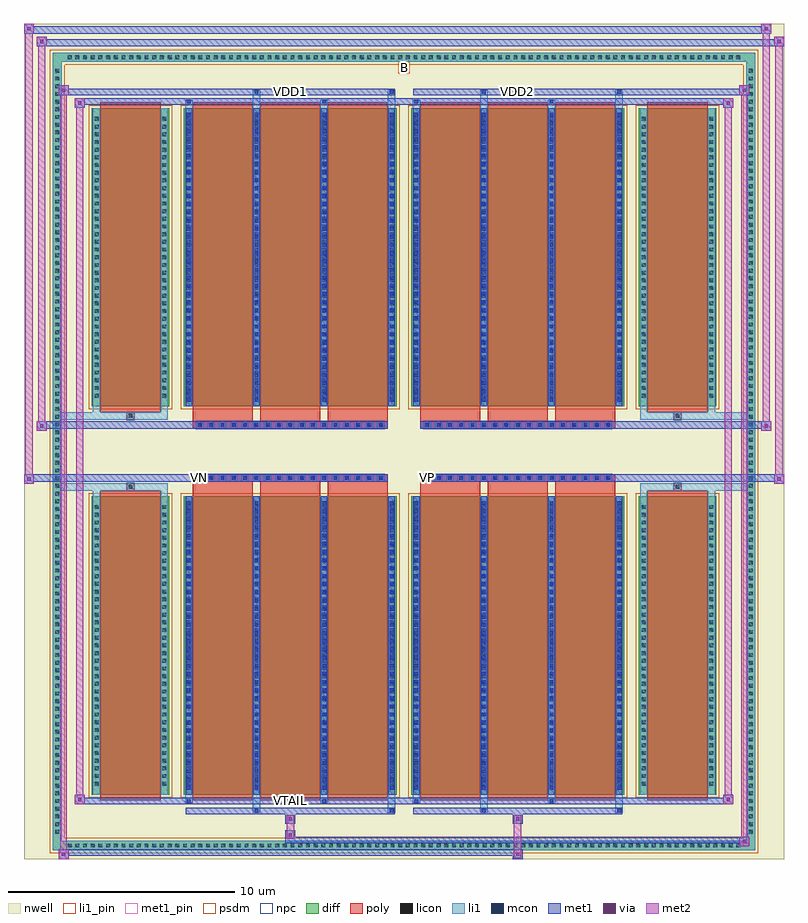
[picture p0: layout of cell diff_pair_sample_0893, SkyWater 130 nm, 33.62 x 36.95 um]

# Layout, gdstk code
import gdstk
lib = gdstk.Library(unit=1e-6, precision=5e-09)
def R(c, l, rs):  # rectangles x0, y0, x1, y1
    for r in rs: c.add(gdstk.rectangle(r[:2], r[2:], *l))
def A(c, l, x, y, w, h, nx, ny, dx, dy):  # array of equal rectangles
    R(c, l, [(x+i*dx, y+j*dy, x+i*dx+w, y+j*dy+h) for i in range(nx) for j in range(ny)])
def P(c, l, *ps):  # polygons
    for p in ps: c.add(gdstk.Polygon(p, *l))
nwell = (64, 20)
diff = (65, 20)
poly = (66, 20)
licon = (66, 44)
li1_pin = (67, 16)
li1 = (67, 20)
mcon = (67, 44)
met1_pin = (68, 16)
met1 = (68, 20)
via = (68, 44)
met2 = (69, 20)
psdm = (94, 20)
npc = (95, 20)

diff_pair_sample_0893 = lib.new_cell('diff_pair_sample_0893')
R(diff_pair_sample_0893, nwell, [(-16.81,-18.04,16.81,18.91), (-14.13,-16.23,-0.01,-0.805), (0.01,-16.23,14.13,-0.805), (-14.13,0.805,-0.01,16.23), (0.01,0.805,14.13,16.23)])
A(diff_pair_sample_0893, diff, -14.995, -17.64, 0.41, 0.41, 88, 2, 0.34, 34.87)
A(diff_pair_sample_0893, diff, -15.54, -17.035, 0.41, 0.41, 1, 100, 0, 0.34)
A(diff_pair_sample_0893, diff, 15.13, -17.035, 0.41, 0.41, 1, 100, 0, 0.34)
R(diff_pair_sample_0893, diff, [(-14.995,-17.64,14.995,-17.23), (-15.54,-17.035,-15.13,17.035), (15.13,-17.035,15.54,17.035), (-13.82,-15.185,-10.38,-1.985), (-9.74,-15.185,-0.32,-1.985), (0.32,-15.185,9.74,-1.985), (10.38,-15.185,13.82,-1.985), (-13.82,1.985,-10.38,15.185), (-9.74,1.985,-0.32,15.185), (0.32,1.985,9.74,15.185), (10.38,1.985,13.82,15.185), (-14.995,17.23,14.995,17.64)])
P(diff_pair_sample_0893, diff, [(15.54,17.64),(-15.54,17.64),(-15.54,-17.23),(-15.13,-17.23),(-15.13,17.23),(15.13,17.23),(15.13,-17.23),(-15.13,-17.23),(-15.54,-17.23),(-15.54,-17.64),(15.54,-17.64)])
A(diff_pair_sample_0893, poly, -9.35, -15.435, 2.66, 13.7, 3, 2, 2.99, 17.17)
A(diff_pair_sample_0893, poly, 0.71, -15.435, 2.66, 13.7, 3, 2, 2.99, 17.17)
A(diff_pair_sample_0893, poly, -9.35, -1.735, 2.66, 0.4, 3, 2, 2.99, 3.07)
A(diff_pair_sample_0893, poly, 0.71, -1.735, 2.66, 0.4, 3, 2, 2.99, 3.07)
A(diff_pair_sample_0893, poly, -9.195, -1.335, 0.33, 0.33, 17, 2, 0.5, 2.34)
A(diff_pair_sample_0893, poly, 0.865, -1.335, 0.33, 0.33, 17, 2, 0.5, 2.34)
R(diff_pair_sample_0893, poly, [(-13.43,-15.435,-10.77,-1.735), (10.77,-15.435,13.43,-1.735), (-12.265,-1.735,-11.935,-1.405), (-12.265,-1.735,-11.935,-1.405), (11.935,-1.735,12.265,-1.405), (11.935,-1.735,12.265,-1.405), (-9.35,-1.335,-0.71,-1.005), (0.71,-1.335,9.35,-1.005), (-9.35,1.005,-0.71,1.335), (0.71,1.005,9.35,1.335), (-12.265,1.405,-11.935,1.735), (-12.265,1.405,-11.935,1.735), (11.935,1.405,12.265,1.735), (11.935,1.405,12.265,1.735), (-13.43,1.735,-10.77,15.435), (10.77,1.735,13.43,15.435)])
A(diff_pair_sample_0893, licon, -14.875, -17.52, 0.17, 0.17, 88, 2, 0.34, 34.87)
A(diff_pair_sample_0893, licon, -15.42, -16.915, 0.17, 0.17, 1, 100, 0, 0.34)
A(diff_pair_sample_0893, licon, 15.25, -16.915, 0.17, 0.17, 1, 100, 0, 0.34)
A(diff_pair_sample_0893, licon, -13.68, -14.79, 0.17, 0.17, 1, 37, 0, 0.34)
A(diff_pair_sample_0893, licon, -10.69, -14.79, 0.17, 0.17, 1, 37, 0, 0.34)
A(diff_pair_sample_0893, licon, -9.6, -14.79, 0.17, 0.17, 4, 37, 2.99, 0.34)
A(diff_pair_sample_0893, licon, 0.46, -14.79, 0.17, 0.17, 4, 37, 2.99, 0.34)
A(diff_pair_sample_0893, licon, 10.52, -14.79, 0.17, 0.17, 1, 37, 0, 0.34)
A(diff_pair_sample_0893, licon, 13.51, -14.79, 0.17, 0.17, 1, 37, 0, 0.34)
A(diff_pair_sample_0893, licon, -9.115, -1.255, 0.17, 0.17, 17, 2, 0.5, 2.34)
A(diff_pair_sample_0893, licon, 0.945, -1.255, 0.17, 0.17, 17, 2, 0.5, 2.34)
A(diff_pair_sample_0893, licon, -13.68, 2.38, 0.17, 0.17, 1, 37, 0, 0.34)
A(diff_pair_sample_0893, licon, -10.69, 2.38, 0.17, 0.17, 1, 37, 0, 0.34)
A(diff_pair_sample_0893, licon, -9.6, 2.38, 0.17, 0.17, 4, 37, 2.99, 0.34)
A(diff_pair_sample_0893, licon, 0.46, 2.38, 0.17, 0.17, 4, 37, 2.99, 0.34)
A(diff_pair_sample_0893, licon, 10.52, 2.38, 0.17, 0.17, 1, 37, 0, 0.34)
A(diff_pair_sample_0893, licon, 13.51, 2.38, 0.17, 0.17, 1, 37, 0, 0.34)
R(diff_pair_sample_0893, licon, [(-12.185,-1.655,-12.015,-1.485), (12.015,-1.655,12.185,-1.485), (-12.185,1.485,-12.015,1.655), (12.015,1.485,12.185,1.655)])
R(diff_pair_sample_0893, li1_pin, [(-0.25,16.73,0.25,17.23)])
A(diff_pair_sample_0893, li1, -14.955, -17.6, 0.33, 0.33, 88, 2, 0.34, 34.87)
A(diff_pair_sample_0893, li1, -15.5, -16.995, 0.33, 0.33, 1, 100, 0, 0.34)
A(diff_pair_sample_0893, li1, 15.17, -16.995, 0.33, 0.33, 1, 100, 0, 0.34)
A(diff_pair_sample_0893, li1, -9.68, -15.185, 0.33, 13.2, 4, 2, 2.99, 17.17)
A(diff_pair_sample_0893, li1, 0.38, -15.185, 0.33, 13.2, 4, 2, 2.99, 17.17)
A(diff_pair_sample_0893, li1, -9.6, -14.97, 0.17, 0.17, 4, 36, 2.99, 0.36)
A(diff_pair_sample_0893, li1, -9.6, -14.97, 0.17, 12.77, 4, 2, 2.99, 17.17)
A(diff_pair_sample_0893, li1, 0.46, -14.97, 0.17, 0.17, 4, 36, 2.99, 0.36)
A(diff_pair_sample_0893, li1, 0.46, -14.97, 0.17, 12.77, 4, 2, 2.99, 17.17)
A(diff_pair_sample_0893, li1, -13.76, -14.87, 0.33, 0.33, 1, 37, 0, 0.34)
A(diff_pair_sample_0893, li1, -10.77, -14.87, 0.33, 0.33, 1, 37, 0, 0.34)
A(diff_pair_sample_0893, li1, -9.68, -14.87, 0.33, 0.33, 4, 37, 2.99, 0.34)
A(diff_pair_sample_0893, li1, 0.38, -14.87, 0.33, 0.33, 4, 37, 2.99, 0.34)
A(diff_pair_sample_0893, li1, 10.44, -14.87, 0.33, 0.33, 1, 37, 0, 0.34)
A(diff_pair_sample_0893, li1, 13.43, -14.87, 0.33, 0.33, 1, 37, 0, 0.34)
A(diff_pair_sample_0893, li1, -9.195, -1.335, 0.33, 0.33, 17, 2, 0.5, 2.34)
A(diff_pair_sample_0893, li1, 0.865, -1.335, 0.33, 0.33, 17, 2, 0.5, 2.34)
A(diff_pair_sample_0893, li1, -9.6, 2.2, 0.17, 0.17, 4, 36, 2.99, 0.36)
A(diff_pair_sample_0893, li1, 0.46, 2.2, 0.17, 0.17, 4, 36, 2.99, 0.36)
A(diff_pair_sample_0893, li1, -13.76, 2.3, 0.33, 0.33, 1, 37, 0, 0.34)
A(diff_pair_sample_0893, li1, -10.77, 2.3, 0.33, 0.33, 1, 37, 0, 0.34)
A(diff_pair_sample_0893, li1, -9.68, 2.3, 0.33, 0.33, 4, 37, 2.99, 0.34)
A(diff_pair_sample_0893, li1, 0.38, 2.3, 0.33, 0.33, 4, 37, 2.99, 0.34)
A(diff_pair_sample_0893, li1, 10.44, 2.3, 0.33, 0.33, 1, 37, 0, 0.34)
A(diff_pair_sample_0893, li1, 13.43, 2.3, 0.33, 0.33, 1, 37, 0, 0.34)
R(diff_pair_sample_0893, li1, [(-15.54,-17.64,-15.13,-17.23), (-15.54,-17.64,-15.13,-17.23), (-15.13,-17.64,15.13,-17.23), (15.13,-17.64,15.54,-17.23), (15.13,-17.64,15.54,-17.23), (-15.54,-17.23,-15.13,17.23), (15.13,-17.23,15.54,17.23), (-6.69,-15.99,-6.36,-15.185), (-6.61,-15.99,-6.44,-15.82), (-0.71,-15.99,-0.38,-15.185), (-0.63,-15.99,-0.46,-15.82), (3.37,-15.99,3.7,-15.185), (3.45,-15.99,3.62,-15.82), (9.35,-15.99,9.68,-15.185), (9.43,-15.99,9.6,-15.82), (-9.68,-15.56,-9.35,-15.185), (-9.6,-15.56,-9.43,-15.39), (-3.7,-15.56,-3.37,-15.185), (-3.62,-15.56,-3.45,-15.39), (0.38,-15.56,0.71,-15.185), (0.46,-15.56,0.63,-15.39), (6.36,-15.56,6.69,-15.185), (6.44,-15.56,6.61,-15.39), (-13.76,-15.185,-13.43,-1.985), (-10.77,-15.185,-10.44,-1.985), (10.44,-15.185,10.77,-1.985), (13.43,-15.185,13.76,-1.985), (-13.76,-1.985,-13.43,-1.405), (-10.77,-1.985,-10.44,-1.405), (10.44,-1.985,10.77,-1.405), (13.43,-1.985,13.76,-1.405), (-15.54,-1.735,-12.265,-1.405), (-13.76,-1.735,-12.265,-1.405), (-12.265,-1.735,-11.935,-1.405), (-11.935,-1.735,-10.44,-1.405), (10.44,-1.735,11.935,-1.405), (11.935,-1.735,12.265,-1.405), (11.935,-1.735,15.54,-1.405), (12.265,-1.735,13.76,-1.405), (-15.54,1.405,-12.265,1.735), (-13.76,1.405,-12.265,1.735), (-13.76,1.405,-13.43,1.985), (-12.265,1.405,-11.935,1.735), (-11.935,1.405,-10.44,1.735), (-10.77,1.405,-10.44,1.985), (10.44,1.405,11.935,1.735), (10.44,1.405,10.77,1.985), (11.935,1.405,12.265,1.735), (11.935,1.405,15.54,1.735), (12.265,1.405,13.76,1.735), (13.43,1.405,13.76,1.985), (-13.76,1.985,-13.43,15.185), (-10.77,1.985,-10.44,15.185), (10.44,1.985,10.77,15.185), (13.43,1.985,13.76,15.185), (-9.68,15.185,-9.35,15.56), (-6.69,15.185,-6.36,15.99), (-3.7,15.185,-3.37,15.56), (-0.71,15.185,-0.38,15.99), (0.38,15.185,0.71,15.56), (3.37,15.185,3.7,15.99), (6.36,15.185,6.69,15.56), (9.35,15.185,9.68,15.99), (-9.6,15.39,-9.43,15.56), (-3.62,15.39,-3.45,15.56), (0.46,15.39,0.63,15.56), (6.44,15.39,6.61,15.56), (-6.61,15.82,-6.44,15.99), (-0.63,15.82,-0.46,15.99), (3.45,15.82,3.62,15.99), (9.43,15.82,9.6,15.99), (-15.54,17.23,-15.13,17.64), (-15.54,17.23,-15.13,17.64), (-15.13,17.23,15.13,17.64), (15.13,17.23,15.54,17.64), (15.13,17.23,15.54,17.64)])
A(diff_pair_sample_0893, mcon, -9.6, -14.97, 0.17, 0.17, 4, 36, 2.99, 0.36)
A(diff_pair_sample_0893, mcon, 0.46, -14.97, 0.17, 0.17, 4, 36, 2.99, 0.36)
A(diff_pair_sample_0893, mcon, -9.115, -1.255, 0.17, 0.17, 17, 2, 0.5, 2.34)
A(diff_pair_sample_0893, mcon, 0.945, -1.255, 0.17, 0.17, 17, 2, 0.5, 2.34)
A(diff_pair_sample_0893, mcon, -9.6, 2.2, 0.17, 0.17, 4, 36, 2.99, 0.36)
A(diff_pair_sample_0893, mcon, 0.46, 2.2, 0.17, 0.17, 4, 36, 2.99, 0.36)
R(diff_pair_sample_0893, mcon, [(-6.61,-15.99,-6.44,-15.82), (-0.63,-15.99,-0.46,-15.82), (3.45,-15.99,3.62,-15.82), (9.43,-15.99,9.6,-15.82), (-9.6,-15.56,-9.43,-15.39), (-3.62,-15.56,-3.45,-15.39), (0.46,-15.56,0.63,-15.39), (6.44,-15.56,6.61,-15.39), (-9.6,15.39,-9.43,15.56), (-3.62,15.39,-3.45,15.56), (0.46,15.39,0.63,15.56), (6.44,15.39,6.61,15.56), (-6.61,15.82,-6.44,15.99), (-0.63,15.82,-0.46,15.99), (3.45,15.82,3.62,15.99), (9.43,15.82,9.6,15.99)])
R(diff_pair_sample_0893, met1_pin, [(-5.165,-15.6,-4.895,-15.33), (-9.165,-1.295,-8.895,-1.025), (0.895,-1.295,1.165,-1.025), (-5.165,15.78,-4.895,16.05), (4.895,15.78,5.165,16.05)])
A(diff_pair_sample_0893, met1, -9.66, -15.185, 0.29, 13.2, 4, 2, 2.99, 17.17)
A(diff_pair_sample_0893, met1, 0.4, -15.185, 0.29, 13.2, 4, 2, 2.99, 17.17)
A(diff_pair_sample_0893, met1, -9.66, -15.03, 0.29, 0.29, 4, 36, 2.99, 0.36)
A(diff_pair_sample_0893, met1, 0.4, -15.03, 0.29, 0.29, 4, 36, 2.99, 0.36)
A(diff_pair_sample_0893, met1, -9.175, -1.315, 0.29, 0.29, 17, 2, 0.5, 2.34)
A(diff_pair_sample_0893, met1, 0.885, -1.315, 0.29, 0.29, 17, 2, 0.5, 2.34)
A(diff_pair_sample_0893, met1, -9.66, 2.14, 0.29, 0.29, 4, 36, 2.99, 0.36)
A(diff_pair_sample_0893, met1, 0.4, 2.14, 0.29, 0.29, 4, 36, 2.99, 0.36)
R(diff_pair_sample_0893, met1, [(-15.27,-18.04,-14.84,-17.61), (4.815,-18.04,5.245,-17.61), (-15.27,-17.9,5.245,-17.61), (14.84,-17.47,15.27,-17.04), (-5.245,-17.33,15.27,-17.04), (-5.245,-17.19,-4.815,-16.76), (-5.245,-16.48,-4.815,-16.05), (4.815,-16.48,5.245,-16.05), (-9.66,-16.05,-0.4,-15.76), (-6.67,-16.05,-6.38,-15.76), (-0.69,-16.05,-0.4,-15.76), (0.4,-16.05,9.66,-15.76), (3.39,-16.05,3.68,-15.76), (9.37,-16.05,9.66,-15.76), (-14.56,-15.62,-14.13,-15.19), (-14.56,-15.62,-9.66,-15.33), (-9.66,-15.62,-9.37,-15.33), (-9.66,-15.62,-0.4,-15.33), (-3.68,-15.62,-3.39,-15.33), (-0.4,-15.62,0.4,-15.33), (0.4,-15.62,0.69,-15.33), (0.4,-15.62,9.66,-15.33), (6.38,-15.62,6.67,-15.33), (9.66,-15.62,14.56,-15.33), (14.13,-15.62,14.56,-15.19), (-16.81,-1.435,-16.38,-1.005), (16.38,-1.435,16.81,-1.005), (-16.81,-1.335,-0.71,-1.005), (-9.35,-1.335,-0.71,-1.005), (0.71,-1.335,9.35,-1.005), (0.71,-1.335,16.81,-1.005), (-16.24,0.905,-15.81,1.335), (15.81,0.905,16.24,1.335), (-16.24,1.005,-9.35,1.335), (-9.35,1.005,-0.71,1.335), (0.71,1.005,9.35,1.335), (9.35,1.005,16.24,1.335), (-14.56,15.19,-14.13,15.62), (14.13,15.19,14.56,15.62), (-14.56,15.33,-9.66,15.62), (-9.66,15.33,-9.37,15.62), (-9.66,15.33,-0.4,15.62), (-3.68,15.33,-3.39,15.62), (-0.4,15.33,0.4,15.62), (0.4,15.33,0.69,15.62), (0.4,15.33,9.66,15.62), (6.38,15.33,6.67,15.62), (9.66,15.33,14.56,15.62), (-15.27,15.76,-14.84,16.19), (-15.27,15.76,-9.66,16.05), (-9.66,15.76,-0.4,16.05), (-6.67,15.76,-6.38,16.05), (-0.69,15.76,-0.4,16.05), (0.4,15.76,9.66,16.05), (3.39,15.76,3.68,16.05), (9.37,15.76,9.66,16.05), (9.66,15.76,15.27,16.05), (14.84,15.76,15.27,16.19), (-16.24,17.91,-15.81,18.34), (-16.24,17.91,-14.13,18.24), (-14.13,17.91,14.13,18.24), (14.13,17.91,16.81,18.24), (16.38,17.91,16.81,18.34), (-16.81,18.48,-16.38,18.91), (-16.81,18.48,-14.13,18.81), (-14.13,18.48,14.13,18.81), (14.13,18.48,16.24,18.81), (15.81,18.48,16.24,18.91)])
R(diff_pair_sample_0893, via, [(-15.13,-17.9,-14.98,-17.75), (4.955,-17.9,5.105,-17.75), (14.98,-17.33,15.13,-17.18), (-5.105,-17.05,-4.955,-16.9), (-5.105,-16.34,-4.955,-16.19), (4.955,-16.34,5.105,-16.19), (-14.42,-15.48,-14.27,-15.33), (14.27,-15.48,14.42,-15.33), (-16.67,-1.295,-16.52,-1.145), (16.52,-1.295,16.67,-1.145), (-16.1,1.045,-15.95,1.195), (15.95,1.045,16.1,1.195), (-14.42,15.33,-14.27,15.48), (14.27,15.33,14.42,15.48), (-15.13,15.9,-14.98,16.05), (14.98,15.9,15.13,16.05), (-16.1,18.05,-15.95,18.2), (16.52,18.05,16.67,18.2), (-16.67,18.62,-16.52,18.77), (15.95,18.62,16.1,18.77)])
R(diff_pair_sample_0893, met2, [(-15.27,-18.04,-14.84,-17.61), (-15.2,-18.04,-14.91,16.19), (-14.91,-18.04,-14.84,-17.61), (-15.22,-17.99,-14.89,-17.66), (4.865,-17.99,5.195,-17.66), (4.865,-17.66,5.195,-16.43), (14.84,-17.47,15.27,-17.04), (14.91,-17.47,15.2,16.19), (15.2,-17.47,15.27,-17.04), (14.89,-17.42,15.22,-17.09), (-5.195,-17.14,-4.865,-16.81), (-5.195,-16.81,-4.865,-16.43), (-5.195,-16.43,-4.865,-16.1), (4.865,-16.43,5.195,-16.1), (-14.56,-15.62,-14.13,-15.19), (-14.49,-15.62,-14.2,15.62), (-14.2,-15.62,-14.13,-15.19), (14.13,-15.62,14.56,-15.19), (14.2,-15.62,14.49,15.62), (14.49,-15.62,14.56,-15.19), (-14.51,-15.57,-14.18,-15.24), (14.18,-15.57,14.51,-15.24), (-16.81,-1.435,-16.38,-1.005), (-16.76,-1.435,-16.43,18.91), (-16.43,-1.435,-16.38,-1.005), (16.38,-1.435,16.81,-1.005), (16.43,-1.435,16.76,18.34), (16.76,-1.435,16.81,-1.005), (-16.76,-1.385,-16.43,-1.055), (16.43,-1.385,16.76,-1.055), (-16.24,0.905,-15.81,1.335), (-16.19,0.905,-15.86,18.34), (-15.86,0.905,-15.81,1.335), (15.81,0.905,16.24,1.335), (15.86,0.905,16.19,18.91), (16.19,0.905,16.24,1.335), (-16.19,0.955,-15.86,1.285), (15.86,0.955,16.19,1.285), (-14.56,15.19,-14.13,15.62), (-14.2,15.19,-14.13,15.62), (14.13,15.19,14.56,15.62), (14.49,15.19,14.56,15.62), (-14.51,15.24,-14.18,15.57), (14.18,15.24,14.51,15.57), (-15.27,15.76,-14.84,16.19), (-14.91,15.76,-14.84,16.19), (14.84,15.76,15.27,16.19), (15.2,15.76,15.27,16.19), (-15.22,15.81,-14.89,16.14), (14.89,15.81,15.22,16.14), (-16.24,17.91,-15.81,18.34), (-15.86,17.91,-15.81,18.34), (16.38,17.91,16.81,18.34), (16.76,17.91,16.81,18.34), (-16.19,17.96,-15.86,18.29), (16.43,17.96,16.76,18.29), (-16.81,18.48,-16.38,18.91), (-16.43,18.48,-16.38,18.91), (15.81,18.48,16.24,18.91), (16.19,18.48,16.24,18.91), (-16.76,18.53,-16.43,18.86), (15.86,18.53,16.19,18.86)])
R(diff_pair_sample_0893, psdm, [(-13.95,-15.315,-10.25,-1.855), (-9.87,-15.315,-0.19,-1.855), (0.19,-15.315,9.87,-1.855), (10.25,-15.315,13.95,-1.855), (-13.95,1.855,-10.25,15.315), (-9.87,1.855,-0.19,15.315), (0.19,1.855,9.87,15.315), (10.25,1.855,13.95,15.315)])
P(diff_pair_sample_0893, psdm, [(15.67,17.77),(-15.67,17.77),(-15.67,-17.1),(-15,-17.1),(-15,17.1),(15,17.1),(15,-17.1),(-15,-17.1),(-15.67,-17.1),(-15.67,-17.77),(15.67,-17.77)])
A(diff_pair_sample_0893, npc, -9.215, -1.355, 0.37, 0.37, 17, 2, 0.5, 2.34)
A(diff_pair_sample_0893, npc, 0.845, -1.355, 0.37, 0.37, 17, 2, 0.5, 2.34)
R(diff_pair_sample_0893, npc, [(-12.285,-1.755,-11.915,-1.385), (11.915,-1.755,12.285,-1.385), (-9.215,-1.355,-8.345,-0.985), (-9.215,-1.355,-8.345,-0.985), (-8.715,-1.355,-7.845,-0.985), (-8.715,-1.355,-7.845,-0.985), (-8.215,-1.355,-7.345,-0.985), (-8.215,-1.355,-7.345,-0.985), (-7.715,-1.355,-6.845,-0.985), (-7.715,-1.355,-6.845,-0.985), (-7.215,-1.355,-6.345,-0.985), (-7.215,-1.355,-6.345,-0.985), (-6.715,-1.355,-5.845,-0.985), (-6.715,-1.355,-5.845,-0.985), (-6.215,-1.355,-5.345,-0.985), (-6.215,-1.355,-5.345,-0.985), (-5.715,-1.355,-4.845,-0.985), (-5.715,-1.355,-4.845,-0.985), (-5.215,-1.355,-4.345,-0.985), (-5.215,-1.355,-4.345,-0.985), (-4.715,-1.355,-3.845,-0.985), (-4.715,-1.355,-3.845,-0.985), (-4.215,-1.355,-3.345,-0.985), (-4.215,-1.355,-3.345,-0.985), (-3.715,-1.355,-2.845,-0.985), (-3.715,-1.355,-2.845,-0.985), (-3.215,-1.355,-2.345,-0.985), (-3.215,-1.355,-2.345,-0.985), (-2.715,-1.355,-1.845,-0.985), (-2.715,-1.355,-1.845,-0.985), (-2.215,-1.355,-1.345,-0.985), (-2.215,-1.355,-1.345,-0.985), (-1.715,-1.355,-0.845,-0.985), (-1.715,-1.355,-0.845,-0.985), (0.845,-1.355,1.715,-0.985), (0.845,-1.355,1.715,-0.985), (1.345,-1.355,2.215,-0.985), (1.345,-1.355,2.215,-0.985), (1.845,-1.355,2.715,-0.985), (1.845,-1.355,2.715,-0.985), (2.345,-1.355,3.215,-0.985), (2.345,-1.355,3.215,-0.985), (2.845,-1.355,3.715,-0.985), (2.845,-1.355,3.715,-0.985), (3.345,-1.355,4.215,-0.985), (3.345,-1.355,4.215,-0.985), (3.845,-1.355,4.715,-0.985), (3.845,-1.355,4.715,-0.985), (4.345,-1.355,5.215,-0.985), (4.345,-1.355,5.215,-0.985), (4.845,-1.355,5.715,-0.985), (4.845,-1.355,5.715,-0.985), (5.345,-1.355,6.215,-0.985), (5.345,-1.355,6.215,-0.985), (5.845,-1.355,6.715,-0.985), (5.845,-1.355,6.715,-0.985), (6.345,-1.355,7.215,-0.985), (6.345,-1.355,7.215,-0.985), (6.845,-1.355,7.715,-0.985), (6.845,-1.355,7.715,-0.985), (7.345,-1.355,8.215,-0.985), (7.345,-1.355,8.215,-0.985), (7.845,-1.355,8.715,-0.985), (7.845,-1.355,8.715,-0.985), (8.345,-1.355,9.215,-0.985), (8.345,-1.355,9.215,-0.985), (-9.215,0.985,-8.345,1.355), (-9.215,0.985,-8.345,1.355), (-8.715,0.985,-7.845,1.355), (-8.715,0.985,-7.845,1.355), (-8.215,0.985,-7.345,1.355), (-8.215,0.985,-7.345,1.355), (-7.715,0.985,-6.845,1.355), (-7.715,0.985,-6.845,1.355), (-7.215,0.985,-6.345,1.355), (-7.215,0.985,-6.345,1.355), (-6.715,0.985,-5.845,1.355), (-6.715,0.985,-5.845,1.355), (-6.215,0.985,-5.345,1.355), (-6.215,0.985,-5.345,1.355), (-5.715,0.985,-4.845,1.355), (-5.715,0.985,-4.845,1.355), (-5.215,0.985,-4.345,1.355), (-5.215,0.985,-4.345,1.355), (-4.715,0.985,-3.845,1.355), (-4.715,0.985,-3.845,1.355), (-4.215,0.985,-3.345,1.355), (-4.215,0.985,-3.345,1.355), (-3.715,0.985,-2.845,1.355), (-3.715,0.985,-2.845,1.355), (-3.215,0.985,-2.345,1.355), (-3.215,0.985,-2.345,1.355), (-2.715,0.985,-1.845,1.355), (-2.715,0.985,-1.845,1.355), (-2.215,0.985,-1.345,1.355), (-2.215,0.985,-1.345,1.355), (-1.715,0.985,-0.845,1.355), (-1.715,0.985,-0.845,1.355), (0.845,0.985,1.715,1.355), (0.845,0.985,1.715,1.355), (1.345,0.985,2.215,1.355), (1.345,0.985,2.215,1.355), (1.845,0.985,2.715,1.355), (1.845,0.985,2.715,1.355), (2.345,0.985,3.215,1.355), (2.345,0.985,3.215,1.355), (2.845,0.985,3.715,1.355), (2.845,0.985,3.715,1.355), (3.345,0.985,4.215,1.355), (3.345,0.985,4.215,1.355), (3.845,0.985,4.715,1.355), (3.845,0.985,4.715,1.355), (4.345,0.985,5.215,1.355), (4.345,0.985,5.215,1.355), (4.845,0.985,5.715,1.355), (4.845,0.985,5.715,1.355), (5.345,0.985,6.215,1.355), (5.345,0.985,6.215,1.355), (5.845,0.985,6.715,1.355), (5.845,0.985,6.715,1.355), (6.345,0.985,7.215,1.355), (6.345,0.985,7.215,1.355), (6.845,0.985,7.715,1.355), (6.845,0.985,7.715,1.355), (7.345,0.985,8.215,1.355), (7.345,0.985,8.215,1.355), (7.845,0.985,8.715,1.355), (7.845,0.985,8.715,1.355), (8.345,0.985,9.215,1.355), (8.345,0.985,9.215,1.355), (-12.285,1.385,-11.915,1.755), (11.915,1.385,12.285,1.755)])
diff_pair_sample_0893.add(gdstk.Label('VTAIL', (-5.03,-15.465), layer=68, texttype=5))
diff_pair_sample_0893.add(gdstk.Label('VN', (-9.03,-1.16), layer=68, texttype=5))
diff_pair_sample_0893.add(gdstk.Label('VP', (1.03,-1.16), layer=68, texttype=5))
diff_pair_sample_0893.add(gdstk.Label('B', (0,16.98), layer=67, texttype=5))
diff_pair_sample_0893.add(gdstk.Label('VDD2', (5.03,15.915), layer=68, texttype=5))
diff_pair_sample_0893.add(gdstk.Label('VDD1', (-5.03,15.915), layer=68, texttype=5))

lib.write_gds('diff_pair_sample_0893.gds')
